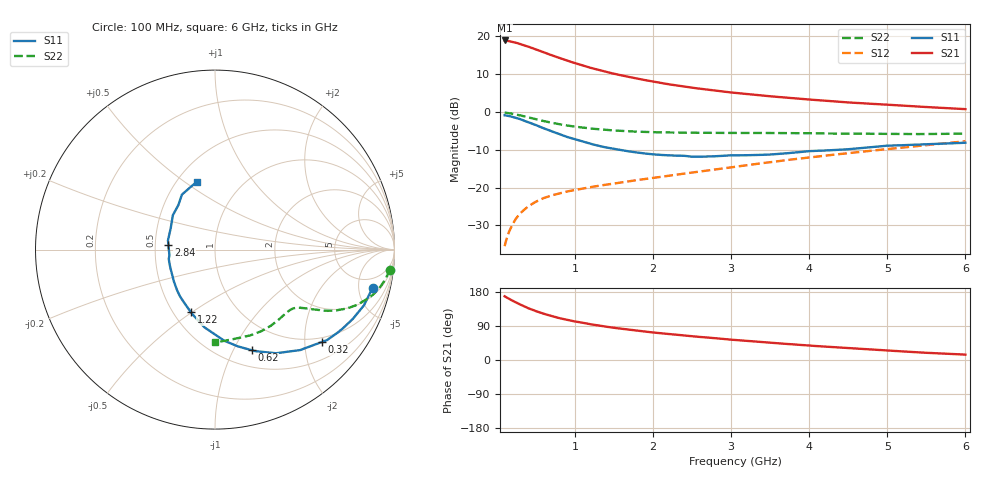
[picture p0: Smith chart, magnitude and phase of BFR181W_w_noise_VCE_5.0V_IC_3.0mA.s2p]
! Infineon Technologies  Discrete & RF Semiconductors
! BFR181W
! VCE =  5.0 V,  IC =  3.0 mA
! Common Emitter S-Parameters:  Nov 2015
# GHz  S  MA  R  50
!  f  S11  S21  S12  S22
! GHz  MAG  ANG  MAG  ANG  MAG  ANG  MAG  ANG
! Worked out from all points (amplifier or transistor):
!   192 points, 100 MHz to 6 GHz, reference 50 ohm
!   highest |S21| = 18.9 dB at 100 MHz (marker M1)
!   |S21| within 3 dB of that: start of sweep to 584.7 MHz
!   unconditionally stable (mu >= 1): 1.835 GHz to 3.394 GHz
!   at 440 MHz: K = 0.37, MSG = 20.7 dB, |S12| = -24.5 dB
!   at 1.7 GHz: K = 0.97, MSG = 13.8 dB, |S12| = -18.3 dB
!   at 6 GHz: K = 0.80, MSG = 4.2 dB, |S12| = -7.8 dB
!   lowest NFmin = 1.40 dB at 450 MHz
!   S11 on the Smith chart (normalised r, x): 100 MHz: 3.03, -7.04; 320 MHz: 0.89, -2.40; 620 MHz: 0.68, -1.18; 1.22 GHz: 0.61, -0.50; 2.84 GHz: 0.59, +0.03; 6 GHz: 0.63, +0.56
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0.1  0.9032 -13.7  8.798 168.1  0.0168 82.4  0.9804 -6.5
0.15  0.8862 -20.5  8.649 162.1  0.025 78.3  0.9653 -9.6
0.2  0.8595 -26.7  8.438 156.6  0.0324 75.4  0.9462 -12.4
0.26  0.825 -34.1  8.127 150.3  0.0407 71.3  0.9184 -15.6
0.32  0.7867 -40.9  7.762 144.6  0.0477 68.1  0.889 -18.1
0.4  0.7339 -49.7  7.315 136.9  0.0562 64.3  0.8488 -21.3
0.5  0.6702 -59.5  6.708 129.0  0.065 60.8  0.8003 -24.3
0.62  0.5963 -70.0  6.038 120.9  0.0738 57.7  0.7492 -26.9
0.7  0.5546 -76.6  5.621 115.8  0.0785 56.4  0.7192 -28.3
0.82  0.5011 -85.5  5.09 109.6  0.0848 54.9  0.6823 -29.8
1  0.4367 -97.8  4.419 101.7  0.093 54.0  0.6386 -31.4
1.1  0.4056 -103.4  4.114 98.3  0.0972 53.8  0.6207 -32.1
1.22  0.3744 -110.9  3.78 93.7  0.1023 53.7  0.6005 -33.0
1.4  0.3388 -121.4  3.381 87.9  0.1092 54.1  0.5785 -34.1
1.6  0.3112 -132.4  3.033 82.3  0.1171 55.0  0.561 -35.3
2.08  0.2709 -155.2  2.435 71.0  0.1375 57.5  0.5374 -38.7
2.5  0.256 -172.7  2.086 62.5  0.1577 59.3  0.53 -42.2
2.84  0.2606 174.6  1.891 56.7  0.176 60.4  0.5278 -45.8
3.1  0.267 166.0  1.765 52.1  0.191 61.0  0.5267 -48.8
4.1  0.3056 138.4  1.432 36.7  0.2569 60.3  0.5209 -61.8
5.1  0.3602 119.0  1.228 23.8  0.3307 57.4  0.5096 -76.6
6  0.3912 104.6  1.088 14.2  0.4094 53.4  0.5174 -89.8
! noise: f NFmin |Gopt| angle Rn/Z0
0.45  1.4  0.56  17  0.36
0.9  1.5  0.45  35  0.34
1.8  1.85  0.25  82  0.36
